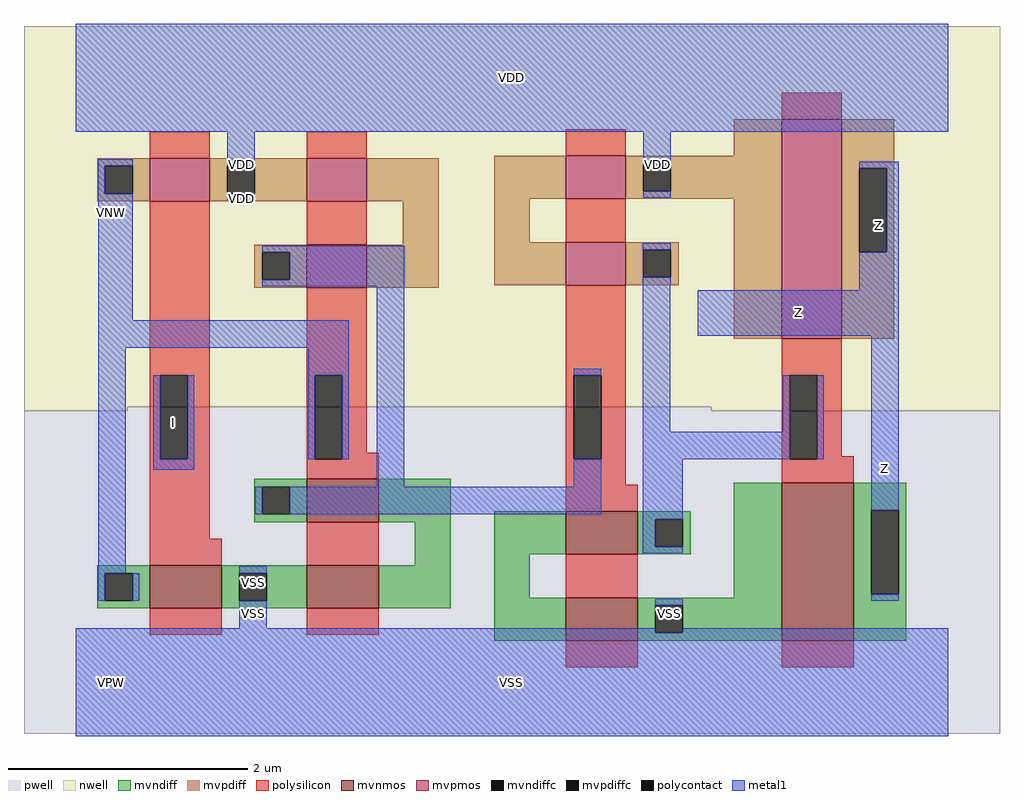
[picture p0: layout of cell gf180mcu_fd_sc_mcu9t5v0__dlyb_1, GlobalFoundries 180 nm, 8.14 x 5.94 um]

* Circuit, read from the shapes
.subckt gf180mcu_fd_sc_mcu9t5v0__dlyb_1 I Z VDD VNW VPW VSS
XM1 VSS I n1 VPW nfet_06v0 w=0.36u l=0.6u
XM2 n2 n1 VSS VPW nfet_06v0 w=0.36u l=0.6u
XM3 n2 n1 n3 VPW nfet_06v0 w=0.36u l=0.6u
XM4 VSS n3 n4 VPW nfet_06v0 w=0.36u l=0.6u
XM5 n5 n3 n4 VPW nfet_06v0 w=0.36u l=0.6u
XM6 Z n5 VSS VPW nfet_06v0 w=1.32u l=0.6u
XM7 VDD I n1 VNW pfet_06v0 w=0.36u l=0.5u
XM8 n6 n1 n3 VNW pfet_06v0 w=0.36u l=0.5u
XM9 n6 n1 VDD VNW pfet_06v0 w=0.36u l=0.5u
XM10 n5 n3 n7 VNW pfet_06v0 w=0.36u l=0.5u
XM11 VDD n3 n7 VNW pfet_06v0 w=0.36u l=0.5u
XM12 Z n5 VDD VNW pfet_06v0 w=1.83u l=0.5u
.ends

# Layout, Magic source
magic
tech gf180mcuD
magscale 1 10
<< nwell >>
rect -86 459 1542 1094
rect -86 453 86 459
rect 1060 453 1542 459
<< pwell >>
rect 86 453 1060 459
rect -86 -86 1542 453
<< mvnmos >>
rect 386 267 506 339
rect 124 123 244 195
rect 386 123 506 195
rect 818 213 938 285
rect 818 69 938 141
rect 1178 69 1298 333
<< mvpmos >>
rect 124 802 224 874
rect 386 802 486 874
rect 386 658 486 730
rect 818 806 918 878
rect 818 662 918 734
rect 1178 573 1278 939
<< mvndiff >>
rect 298 326 386 339
rect 298 280 311 326
rect 357 280 386 326
rect 298 267 386 280
rect 506 267 626 339
rect 566 195 626 267
rect 36 182 124 195
rect 36 136 49 182
rect 95 136 124 182
rect 36 123 124 136
rect 244 182 386 195
rect 244 136 273 182
rect 319 136 386 182
rect 244 123 386 136
rect 506 123 626 195
rect 698 213 818 285
rect 938 272 1026 285
rect 938 226 967 272
rect 1013 226 1026 272
rect 938 213 1026 226
rect 698 141 758 213
rect 1098 141 1178 333
rect 698 69 818 141
rect 938 128 1178 141
rect 938 82 967 128
rect 1013 82 1178 128
rect 938 69 1178 82
rect 1298 287 1386 333
rect 1298 147 1327 287
rect 1373 147 1386 287
rect 1298 69 1386 147
<< mvpdiff >>
rect 1098 878 1178 939
rect 36 861 124 874
rect 36 815 49 861
rect 95 815 124 861
rect 36 802 124 815
rect 224 861 386 874
rect 224 815 253 861
rect 299 815 386 861
rect 224 802 386 815
rect 486 802 606 874
rect 546 730 606 802
rect 298 717 386 730
rect 298 671 311 717
rect 357 671 386 717
rect 298 658 386 671
rect 486 658 606 730
rect 698 806 818 878
rect 918 865 1178 878
rect 918 819 947 865
rect 993 819 1178 865
rect 918 806 1178 819
rect 698 734 758 806
rect 698 662 818 734
rect 918 721 1006 734
rect 918 675 947 721
rect 993 675 1006 721
rect 918 662 1006 675
rect 1098 573 1178 806
rect 1278 857 1366 939
rect 1278 717 1307 857
rect 1353 717 1366 857
rect 1278 573 1366 717
<< mvndiffc >>
rect 311 280 357 326
rect 49 136 95 182
rect 273 136 319 182
rect 967 226 1013 272
rect 967 82 1013 128
rect 1327 147 1373 287
<< mvpdiffc >>
rect 49 815 95 861
rect 253 815 299 861
rect 311 671 357 717
rect 947 819 993 865
rect 947 675 993 721
rect 1307 717 1353 857
<< polysilicon >>
rect 1178 939 1278 983
rect 124 874 224 918
rect 386 874 486 918
rect 818 878 918 922
rect 124 512 224 802
rect 386 730 486 802
rect 818 734 918 806
rect 124 372 141 512
rect 187 372 224 512
rect 124 239 224 372
rect 386 512 486 658
rect 386 372 399 512
rect 445 383 486 512
rect 818 512 918 662
rect 445 372 506 383
rect 386 339 506 372
rect 818 372 831 512
rect 877 372 918 512
rect 818 329 918 372
rect 1178 512 1278 573
rect 1178 372 1191 512
rect 1237 377 1278 512
rect 1237 372 1298 377
rect 1178 333 1298 372
rect 818 285 938 329
rect 124 195 244 239
rect 386 195 506 267
rect 818 141 938 213
rect 124 79 244 123
rect 386 79 506 123
rect 818 25 938 69
rect 1178 25 1298 69
<< polycontact >>
rect 141 372 187 512
rect 399 372 445 512
rect 831 372 877 512
rect 1191 372 1237 512
<< metal1 >>
rect 0 918 1456 1098
rect 38 861 95 872
rect 38 815 49 861
rect 38 604 95 815
rect 253 861 299 918
rect 253 804 299 815
rect 947 865 993 918
rect 947 808 993 819
rect 1307 857 1373 868
rect 311 717 548 728
rect 357 671 548 717
rect 311 660 548 671
rect 38 558 456 604
rect 38 182 84 558
rect 388 512 456 558
rect 130 372 141 512
rect 187 372 198 512
rect 388 372 399 512
rect 445 372 456 512
rect 130 354 198 372
rect 502 326 548 660
rect 946 721 993 732
rect 946 675 947 721
rect 946 664 993 675
rect 1353 717 1373 857
rect 831 512 877 523
rect 831 326 877 372
rect 300 280 311 326
rect 357 280 877 326
rect 946 418 992 664
rect 1307 654 1373 717
rect 1038 578 1373 654
rect 1180 418 1191 512
rect 946 372 1191 418
rect 1237 372 1248 512
rect 946 272 1013 372
rect 946 226 967 272
rect 946 215 1013 226
rect 1327 287 1373 578
rect 273 182 319 193
rect 38 136 49 182
rect 95 136 106 182
rect 273 90 319 136
rect 967 128 1013 139
rect 1327 136 1373 147
rect 0 82 967 90
rect 1013 82 1456 90
rect 0 -90 1456 82
<< labels >>
flabel metal1 s 130 354 198 512 0 FreeSans 200 0 0 0 I
port 1 nsew default input
flabel metal1 s 0 918 1456 1098 0 FreeSans 200 0 0 0 VDD
port 3 nsew power bidirectional abutment
flabel metal1 s 273 139 319 193 0 FreeSans 200 0 0 0 VSS
port 6 nsew ground bidirectional abutment
flabel metal1 s 1307 654 1373 868 0 FreeSans 200 0 0 0 Z
port 2 nsew default output
flabel nwell s 10 734 110 834 0 FreeSans 400 0 0 0 VNW
port 4 nsew power bidirectional
flabel pwell s 10 -50 110 50 0 FreeSans 400 0 0 0 VPW
port 5 nsew ground bidirectional
rlabel metal1 s 1038 578 1373 654 1 Z
port 2 nsew default output
rlabel metal1 s 1327 136 1373 578 1 Z
port 2 nsew default output
rlabel metal1 s 947 808 993 918 1 VDD
port 3 nsew power bidirectional abutment
rlabel metal1 s 253 808 299 918 1 VDD
port 3 nsew power bidirectional abutment
rlabel metal1 s 253 804 299 808 1 VDD
port 3 nsew power bidirectional abutment
rlabel metal1 s 967 90 1013 139 1 VSS
port 6 nsew ground bidirectional abutment
rlabel metal1 s 273 90 319 139 1 VSS
port 6 nsew ground bidirectional abutment
rlabel metal1 s 0 -90 1456 90 1 VSS
port 6 nsew ground bidirectional abutment
<< properties >>
string FIXED_BBOX 0 0 1456 1008
string GDS_END 711770
string GDS_FILE $PDKPATH/libs.ref/gf180mcu_fd_sc_mcu9t5v0/gds/gf180mcu_fd_sc_mcu9t5v0.gds
string GDS_START 707588
string LEFclass core
string LEFsite GF018hv5v_green_sc9
string LEFsymmetry X Y
<< end >>
